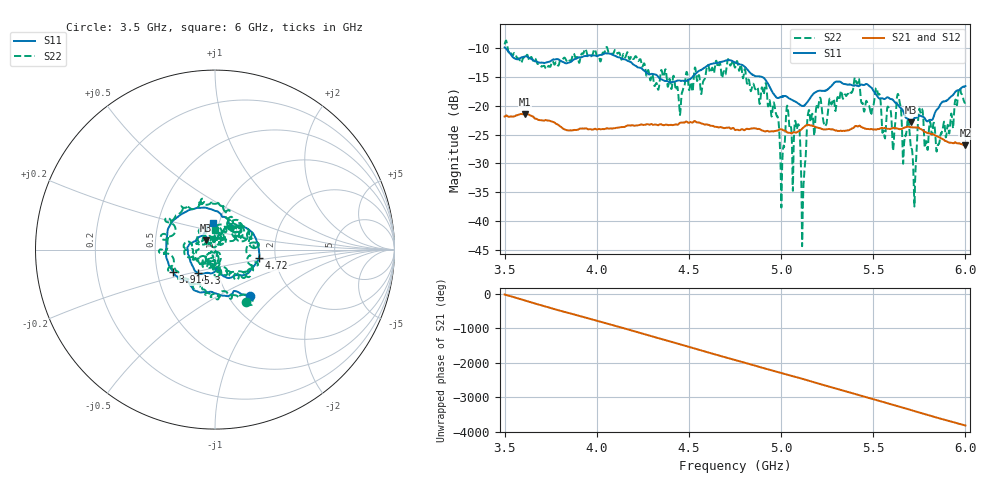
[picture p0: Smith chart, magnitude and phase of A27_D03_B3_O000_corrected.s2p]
! Created with skrf 1.9.0 (http://scikit-rf.org).
# Hz S RI R 50.0
!freq ReS11 ImS11 ReS21 ImS21 ReS12 ImS12 ReS22 ImS22
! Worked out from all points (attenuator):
!   1601 points, 3.5 GHz to 6 GHz, reference 50 ohm
!   highest |S21| = -21.41 dB at 3.609 GHz (marker M1); lowest = -26.9 dB at 6 GHz (marker M2)
!   lowest |S11| = -22.9 dB at 5.705 GHz (marker M3), VSWR 1.15, Z = 45.1 + j4.76 ohm
!   |S11| at or under -10 dB: 3.506 GHz to end of sweep
!   |S22| runs from -44.4 to -8.6 dB; largest |S21 - S12| = 0.00096
!   S11 on the Smith chart (normalised r, x): 3.5 GHz: 1.25, -0.72; 3.914 GHz: 0.61, -0.16; 4.72 GHz: 1.64, -0.16; 5.3 GHz: 0.80, -0.22; 6 GHz: 0.94, +0.29
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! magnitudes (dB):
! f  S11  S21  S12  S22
! 3.5 GHz  -9.8  -21.9  -21.9  -9.3
! 3.609 GHz  -11.4  -21.4  -21.4  -11.7
! 3.914 GHz  -11.6  -24.0  -23.9  -11.2
! 3.917 GHz  -11.6  -24.0  -24.0  -11.0
! 4.334 GHz  -15.0  -23.4  -23.3  -17.2
! 4.72 GHz  -12.1  -23.8  -23.8  -12.6
! 4.75 GHz  -12.5  -24.2  -24.1  -13.4
! 4.969 GHz  -18.4  -24.4  -24.3  -20.9
! 5.006 GHz  -18.4  -24.1  -24.1  -30.0
! 5.034 GHz  -18.5  -24.7  -24.6  -20.0
! 5.088 GHz  -19.5  -24.6  -24.5  -23.8
! 5.119 GHz  -20.0  -23.8  -23.8  -36.5
! 5.145 GHz  -19.2  -23.3  -23.3  -21.6
! 5.167 GHz  -18.2  -23.4  -23.4  -21.5
! 5.3 GHz  -15.8  -24.3  -24.3  -19.8
! 5.584 GHz  -18.6  -24.0  -24.0  -20.3
! 5.639 GHz  -20.0  -24.0  -24.0  -18.5
! 5.705 GHz  -22.9  -23.8  -23.7  -27.3
! 5.723 GHz  -22.1  -23.7  -23.7  -37.5
! 5.756 GHz  -21.7  -24.0  -24.0  -21.2
! 5.85 GHz  -20.5  -25.4  -25.3  -26.8
! 6 GHz  -16.6  -26.9  -26.8  -19.4
